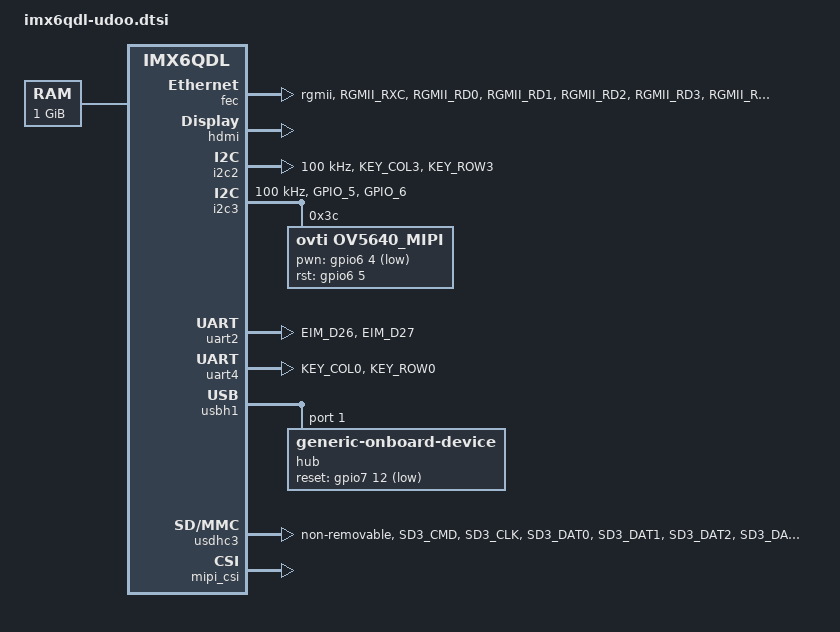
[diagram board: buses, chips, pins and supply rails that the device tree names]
/*
 * Copyright 2013 Freescale Semiconductor, Inc.
 *
 * Author: Fabio Estevam <fabio.estevam@freescale.com>
 *
 * This program is free software; you can redistribute it and/or modify
 * it under the terms of the GNU General Public License version 2 as
 * published by the Free Software Foundation.
 *
 */

#include <dt-bindings/gpio/gpio.h>

/ {
	chosen {
		stdout-path = &uart2;
	};

	memory {
		reg = <0x10000000 0x40000000>;
	};
};

&fec {
	pinctrl-names = "default";
	pinctrl-0 = <&pinctrl_enet>;
	phy-mode = "rgmii";
	status = "okay";
};

&hdmi {
	ddc-i2c-bus = <&i2c2>;
	status = "okay";
};

&i2c2 {
	clock-frequency = <100000>;
	pinctrl-names = "default";
	pinctrl-0 = <&pinctrl_i2c2>;
	status = "okay";
};

&i2c3 { // CSI camera (CN11) and LVDS 7 inches touch panel (CN13)
	clock-frequency = <100000>;
	pinctrl-names = "default";
	pinctrl-0 = <&pinctrl_i2c3>;
	status = "okay";
	ov5640_mipi: ov5640_mipi@3c {
		compatible = "ovti,ov5640_mipi";
		reg = <0x3c>;
		clocks = <&clks IMX6QDL_CLK_CKO>;
		clock-names = "csi_mclk";
		pwn-gpios = <&gpio6 4 GPIO_ACTIVE_LOW>;
		rst-gpios = <&gpio6 5 GPIO_ACTIVE_HIGH>;
		csi_id = <0>;
		mclk = <24000000>;
		mclk_source = <0>;
	};
};

&iomuxc {
	pinctrl-names = "default";
	pinctrl-0 = <&pinctrl_hog>;

	imx6q-udoo {
		pinctrl_hog: hoggrp {
			fsl,pins = <
				// Internal GPIOs
				MX6QDL_PAD_NANDF_D4__GPIO2_IO04			0x80000000  // 5v enable
				MX6QDL_PAD_NANDF_CS0__GPIO6_IO11		0x80000000  // Vtt enable

				MX6QDL_PAD_DISP0_DAT5__GPIO4_IO26		0x80000000  // Debug UART (J18)

				MX6QDL_PAD_GPIO_17__GPIO7_IO12			0x80000000  // USB hub reset
				MX6QDL_PAD_NANDF_CS2__CCM_CLKO2			0x130b0     // USB hub clock
				MX6QDL_PAD_EIM_WAIT__GPIO5_IO00			0xb0b1      // USB OTG select

				MX6QDL_PAD_NANDF_D5__GPIO2_IO05			0x80000000  // SD card power
				MX6QDL_PAD_SD3_DAT5__GPIO7_IO00			0x80000000  // SD card detect

				MX6QDL_PAD_GPIO_16__GPIO7_IO11			0xb0b1      // SAM3X OTG vbus_en
				MX6QDL_PAD_SD4_DAT7__GPIO2_IO15			0x80000000  // SAM3X usb host
				MX6QDL_PAD_GPIO_3__GPIO1_IO03			0x30b1      // Arduino pinout pin 12

				MX6QDL_PAD_GPIO_2__GPIO1_IO02			0x80000000  // LVDS panel on (CN13)
				MX6QDL_PAD_GPIO_4__GPIO1_IO04			0x80000000  // LVDS backlight on (CN13)

				MX6QDL_PAD_CSI0_DAT18__GPIO6_IO04		0x1f071 	// CSI camera enable (CN11)
				MX6QDL_PAD_CSI0_DAT19__GPIO6_IO05		0x1f071 	// CSI camera reset (CN11)
				MX6QDL_PAD_CSI0_MCLK__CCM_CLKO1			0x130b0		// CSI master clock (CN11)
			>;
		};

		pinctrl_enet: enetgrp {
			fsl,pins = <
				MX6QDL_PAD_RGMII_RXC__RGMII_RXC		0x1b0b0
				MX6QDL_PAD_RGMII_RD0__RGMII_RD0		0x1b0b0
				MX6QDL_PAD_RGMII_RD1__RGMII_RD1		0x1b0b0
				MX6QDL_PAD_RGMII_RD2__RGMII_RD2		0x1b0b0
				MX6QDL_PAD_RGMII_RD3__RGMII_RD3		0x1b0b0
				MX6QDL_PAD_RGMII_RX_CTL__RGMII_RX_CTL	0x1b0b0
				MX6QDL_PAD_RGMII_TXC__RGMII_TXC		0x1b0b0
				MX6QDL_PAD_RGMII_TD0__RGMII_TD0		0x1b0b0
				MX6QDL_PAD_RGMII_TD1__RGMII_TD1		0x1b0b0
				MX6QDL_PAD_RGMII_TD2__RGMII_TD2		0x1b0b0
				MX6QDL_PAD_RGMII_TD3__RGMII_TD3		0x1b0b0
				MX6QDL_PAD_RGMII_TX_CTL__RGMII_TX_CTL	0x1b0b0
				MX6QDL_PAD_ENET_REF_CLK__ENET_TX_CLK	0x1b0b0
				MX6QDL_PAD_ENET_MDIO__ENET_MDIO		0x1b0b0
				MX6QDL_PAD_ENET_MDC__ENET_MDC		0x1b0b0
				MX6QDL_PAD_GPIO_16__ENET_REF_CLK	0x4001b0a8
			>;
		};

		pinctrl_i2c2: i2c2grp {
			fsl,pins = <
				MX6QDL_PAD_KEY_COL3__I2C2_SCL		0x4001b8b1
				MX6QDL_PAD_KEY_ROW3__I2C2_SDA		0x4001b8b1
			>;
		};

		pinctrl_i2c3: i2c3grp {
			fsl,pins = <
				MX6QDL_PAD_GPIO_5__I2C3_SCL		0x4001b8b1
				MX6QDL_PAD_GPIO_6__I2C3_SDA		0x4001b8b1
			>;
		};

		pinctrl_uart2: uart2grp {
			fsl,pins = <
				MX6QDL_PAD_EIM_D26__UART2_TX_DATA	0x1b0b1
				MX6QDL_PAD_EIM_D27__UART2_RX_DATA	0x1b0b1
			>;
		};

		pinctrl_uart4: uart4grp {
			fsl,pins = <
				MX6QDL_PAD_KEY_COL0__UART4_TX_DATA 	0x1b0b1
				MX6QDL_PAD_KEY_ROW0__UART4_RX_DATA 	0x1b0b1
			>;
		};

		pinctrl_usbh: usbhgrp {
			fsl,pins = <
				MX6QDL_PAD_GPIO_17__GPIO7_IO12 0x80000000
				MX6QDL_PAD_NANDF_CS2__CCM_CLKO2 0x130b0
			>;
		};

		pinctrl_usdhc3: usdhc3grp {
			fsl,pins = <
				MX6QDL_PAD_SD3_CMD__SD3_CMD		0x17059
				MX6QDL_PAD_SD3_CLK__SD3_CLK		0x10059
				MX6QDL_PAD_SD3_DAT0__SD3_DATA0		0x17059
				MX6QDL_PAD_SD3_DAT1__SD3_DATA1		0x17059
				MX6QDL_PAD_SD3_DAT2__SD3_DATA2		0x17059
				MX6QDL_PAD_SD3_DAT3__SD3_DATA3		0x17059
			>;
		};
	};
};

&uart2 {
	pinctrl-names = "default";
	pinctrl-0 = <&pinctrl_uart2>;
	status = "okay";
};

&uart4 { // iMX6-Arduino internal serial port - ttymxc3
	pinctrl-names = "default";
	pinctrl-0 = <&pinctrl_uart4>;
	status = "okay";
};

&usbh1 {
	status = "okay";

	#address-cells = <1>;
	#size-cells = <0>;
	hub: usb2415@01 {
		compatible = "generic-onboard-device";
		reg = <0x01>;
		pinctrl-names = "default";
		pinctrl-0 = <&pinctrl_usbh>;
		clocks = <&clks IMX6QDL_CLK_CKO>;
		reset-gpios = <&gpio7 12 GPIO_ACTIVE_LOW>;
		reset-duration-us = <2>;
	};
};

&usdhc3 {
	pinctrl-names = "default";
	pinctrl-0 = <&pinctrl_usdhc3>;
	non-removable;
	status = "okay";
};

&mipi_csi {
	status = "okay";
	ipu_id = <0>;
	csi_id = <0>;
	v_channel = <0>;
	lanes = <2>;
};
